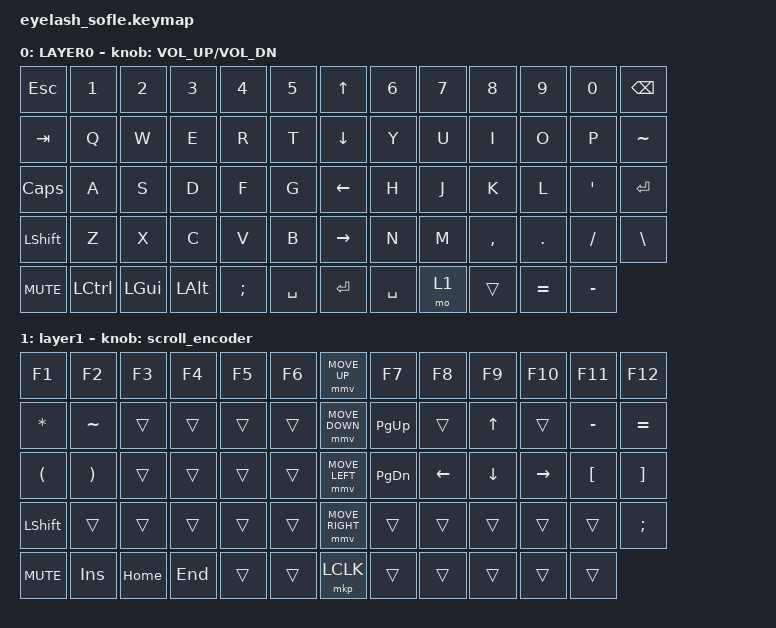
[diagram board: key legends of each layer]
#include <dt-bindings/zmk/mouse.h>
#include <input/processors.dtsi>
#include <behaviors.dtsi>
#include <dt-bindings/zmk/keys.h>
#include <dt-bindings/zmk/pointing.h>

/*

   &mmv_input_listener {
       input-processors = <&zip_xy_scaler 2 1>;
   };

   &msc_input_listener {
       input-processors = <&zip_xy_scaler 2 1>;
   };

 */

#define ZMK_MOUSE_DEFAULT_MOVE_VAL 1200  // 600
#define ZMK_MOUSE_DEFAULT_SCRL_VAL 20    // 10

/ {
    behaviors {
        mmv {
            acceleration-exponent = <1>;      // 1
            time-to-max-speed-ms = <900>;    // 40
            delay-ms = <0>;                   // 0
        };

        msc {
            acceleration-exponent = <1>;      // 0
            time-to-max-speed-ms = <400>;      // 500
            delay-ms = <0>;                   //   10
        };
    };

    scroll_encoder: scroll_encoder {
        compatible = "zmk,behavior-sensor-rotate";
        #sensor-binding-cells = <0>;
        bindings = <&msc SCRL_DOWN>, <&msc SCRL_UP>;

        tap-ms = <30>;
    };

    keymap {
        compatible = "zmk,keymap";

        layer0 {
            bindings = <
&kp ESC     &kp N1     &kp N2        &kp N3        &kp N4    &kp N5       &kp UP_ARROW     &kp N6     &kp N7  &kp N8     &kp N9     &kp N0     &kp BACKSPACE
&kp TAB     &kp Q      &kp W         &kp E         &kp R     &kp T        &kp DOWN_ARROW   &kp Y      &kp U   &kp I      &kp O      &kp P      &kp TILDE
&kp CAPS    &kp A      &kp S         &kp D         &kp F     &kp G        &kp LEFT_ARROW   &kp H      &kp J   &kp K      &kp L      &kp APOS   &kp ENTER
&kp LSHFT   &kp Z      &kp X         &kp C         &kp V     &kp B        &kp RIGHT_ARROW  &kp N      &kp M   &kp COMMA  &kp DOT    &kp FSLH   &kp BACKSLASH
&kp C_MUTE  &kp LCTRL  &kp LEFT_GUI  &kp LEFT_ALT  &kp SEMI  &kp SPACE    &kp ENTER        &kp SPACE  &mo 1   &trans     &kp EQUAL  &kp MINUS
            >;

            sensor-bindings = <&inc_dec_kp C_VOLUME_UP C_VOL_DN>;
            display-name = "LAYER0";
        };

        layer_1 {
            bindings = <
&kp F1                &kp F2                 &kp F3    &kp F4   &kp F5  &kp F6    &mmv MOVE_UP     &kp F7     &kp F8    &kp F9    &kp F10    &kp F11           &kp F12
&kp ASTRK             &kp TILDE              &trans    &trans   &trans  &trans    &mmv MOVE_DOWN   &kp PG_UP  &trans    &kp UP    &trans     &kp MINUS         &kp EQUAL
&kp LEFT_PARENTHESIS  &kp RIGHT_PARENTHESIS  &trans    &trans   &trans  &trans    &mmv MOVE_LEFT   &kp PG_DN  &kp LEFT  &kp DOWN  &kp RIGHT  &kp LEFT_BRACKET  &kp RIGHT_BRACKET
&kp LEFT_SHIFT        &trans                 &trans    &trans   &trans  &trans    &mmv MOVE_RIGHT  &trans     &trans    &trans    &trans     &trans            &kp SEMICOLON
&kp C_MUTE            &kp INSERT             &kp HOME  &kp END  &trans  &trans    &mkp LCLK        &trans     &trans    &trans    &trans     &trans
            >;

            display-name = "layer1";
            sensor-bindings = <&scroll_encoder>;
        };
    };
};
